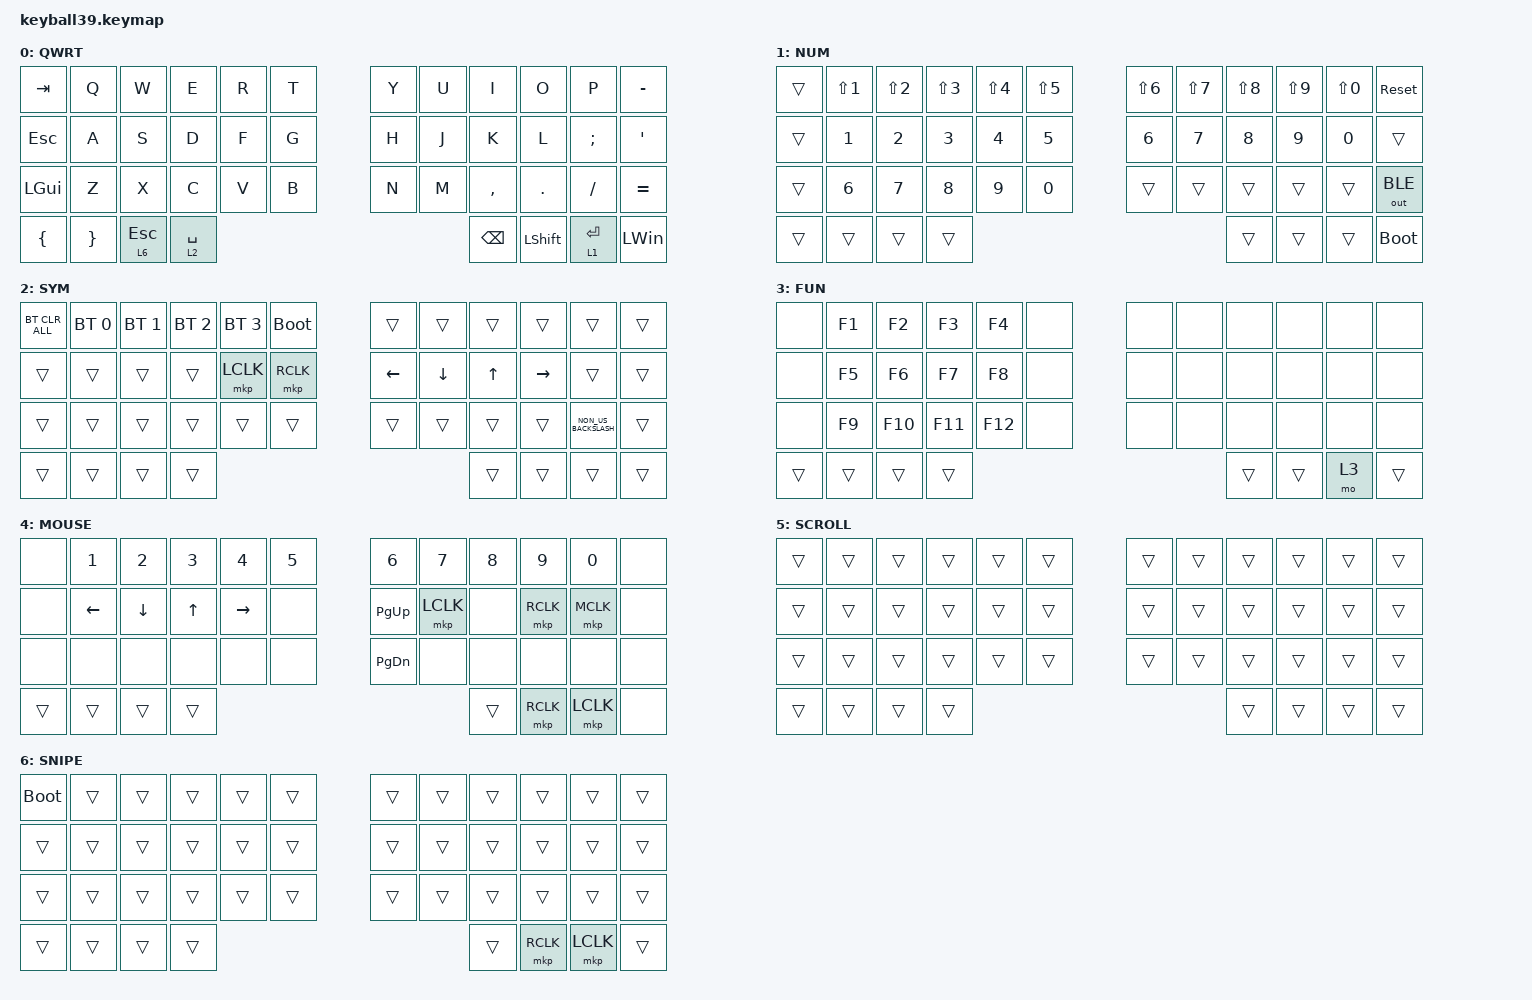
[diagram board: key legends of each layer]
#define DEFAULT 0
#define NUM     1
#define SYM     2
#define FUN     3
#define MOUSE   4
#define SCROLL  5
#define SNIPE   6

#include <behaviors/mouse_keys.dtsi>
#include <dt-bindings/zmk/mouse.h>
#include <behaviors.dtsi>
#include <dt-bindings/zmk/bt.h>
#include <dt-bindings/zmk/keys.h>

&lt {
    tapping-term-ms = <240>;
    flavor = "balanced";
    quick-tap-ms = <150>;
};

&mt {
    tapping-term-ms = <200>;
    flavor = "tap-preferred";
    quick-tap-ms = <150>;
};

&caps_word { continue-list = <UNDERSCORE MINUS>; };

/ {
    // custom shift using mod-morph 

    behaviors {
        cmqus: comma_question {
            compatible = "zmk,behavior-mod-morph";
            label = "COMMA_QUESTION";
            #binding-cells = <0>;
            bindings = <&kp COMMA>, <&kp QUESTION>;

            mods = <(MOD_LSFT|MOD_RSFT)>;
        };

        dtsmi: dot_semi {
            compatible = "zmk,behavior-mod-morph";
            label = "DOT_SEMI";
            #binding-cells = <0>;
            bindings = <&kp DOT>, <&kp SEMI>;

            mods = <(MOD_LSFT|MOD_RSFT)>;
        };
    };

    macros {
        Hiragana: Hiragana {
            compatible = "zmk,behavior-macro";
            #binding-cells = <0>;
            bindings = <&kp LC(SPACE)>;
            label = "HIRAGANA";
        };
    };

   keymap {
        compatible = "zmk,keymap";

        default_layer {
            label = "QWRT";
            bindings = <
&kp TAB         &kp Q            &kp W         &kp E        &kp R     &kp T                      &kp Y         &kp U  &kp I      &kp O    &kp P      &kp MINUS
&kp ESCAPE      &kp A            &kp S         &kp D        &kp F     &kp G                      &kp H         &kp J  &kp K      &kp L    &kp SEMI   &kp SQT
&kp LEFT_GUI    &kp Z            &kp X         &kp C        &kp V     &kp B                      &kp N         &kp M  &kp COMMA  &kp DOT  &kp SLASH  &kp EQUAL
&kp LEFT_BRACE  &kp RIGHT_BRACE  &lt 6 ESCAPE  &lt 2 SPACE  &kp BSPC             &kp LEFT_SHIFT  &lt 1 RETURN                                        &kp LEFT_WIN
            >;
        };

        number_layer {
            label = "NUM";
            bindings = <
&trans  &kp LS(NUMBER_1)  &kp LS(NUMBER_2)  &kp LS(NUMBER_3)  &kp LS(NUMBER_4)  &kp LS(NUMBER_5)              &kp LS(NUMBER_6)  &kp LS(NUMBER_7)  &kp LS(NUMBER_8)  &kp LS(NUMBER_9)  &kp LS(NUMBER_0)  &sys_reset
&trans  &kp N1            &kp N2            &kp N3            &kp N4            &kp N5                        &kp N6            &kp N7            &kp N8            &kp N9            &kp N0            &trans
&trans  &kp N6            &kp N7            &kp N8            &kp N9            &kp N0                        &trans            &trans            &trans            &trans            &trans            &out OUT_BLE
&trans  &trans            &trans            &trans            &trans                                  &trans  &trans                                                                                    &bootloader
            >;
        };

        BT {
            label = "SYM";
            bindings = <
&bt BT_CLR_ALL  &bt BT_SEL 0  &bt BT_SEL 1  &bt BT_SEL 2  &bt BT_SEL 3  &bootloader              &trans          &trans          &trans        &trans     &trans                &trans
&trans          &trans        &trans        &trans        &mkp LCLK     &mkp RCLK                &kp LEFT_ARROW  &kp DOWN_ARROW  &kp UP_ARROW  &kp RIGHT  &trans                &trans
&trans          &trans        &trans        &trans        &trans        &trans                   &trans          &trans          &trans        &trans     &kp NON_US_BACKSLASH  &trans
&trans          &trans        &trans        &trans        &trans                         &trans  &trans                                                                         &trans
            >;
        };

        function_layer {
            label = "FUN";
            bindings = <
&none   &kp F1  &kp F2   &kp F3   &kp F4   &none              &none  &none  &none  &none  &none  &none
&none   &kp F5  &kp F6   &kp F7   &kp F8   &none              &none  &none  &none  &none  &none  &none
&none   &kp F9  &kp F10  &kp F11  &kp F12  &none              &none  &none  &none  &none  &none  &none
&trans  &trans  &trans   &trans   &trans              &trans  &mo 3                              &trans
            >;
        };

        mouse_layer {
            label = "MOUSE";
            bindings = <
&none   &kp N1          &kp N2          &kp N3        &kp N4     &kp N5                 &kp N6         &kp N7     &kp N8  &kp N9     &kp N0     &none
&none   &kp LEFT_ARROW  &kp DOWN_ARROW  &kp UP_ARROW  &kp RIGHT  &none                  &kp PAGE_UP    &mkp LCLK  &none   &mkp RCLK  &mkp MCLK  &none
&none   &none           &none           &none         &none      &none                  &kp PAGE_DOWN  &none      &none   &none      &none      &none
&trans  &trans          &trans          &trans        &trans                 &mkp RCLK  &mkp LCLK                                               &none
            >;
        };

        scroll_layer {
            label = "SCROLL";
            bindings = <
&trans  &trans  &trans  &trans  &trans  &trans              &trans  &trans  &trans  &trans  &trans  &trans
&trans  &trans  &trans  &trans  &trans  &trans              &trans  &trans  &trans  &trans  &trans  &trans
&trans  &trans  &trans  &trans  &trans  &trans              &trans  &trans  &trans  &trans  &trans  &trans
&trans  &trans  &trans  &trans  &trans              &trans  &trans                                  &trans
            >;
        };

        snipe_layer {
            label = "SNIPE";
            bindings = <
&bootloader  &trans  &trans  &trans  &trans  &trans                 &trans     &trans  &trans  &trans  &trans  &trans
&trans       &trans  &trans  &trans  &trans  &trans                 &trans     &trans  &trans  &trans  &trans  &trans
&trans       &trans  &trans  &trans  &trans  &trans                 &trans     &trans  &trans  &trans  &trans  &trans
&trans       &trans  &trans  &trans  &trans              &mkp RCLK  &mkp LCLK                                  &trans
            >;
        };
    };
};
